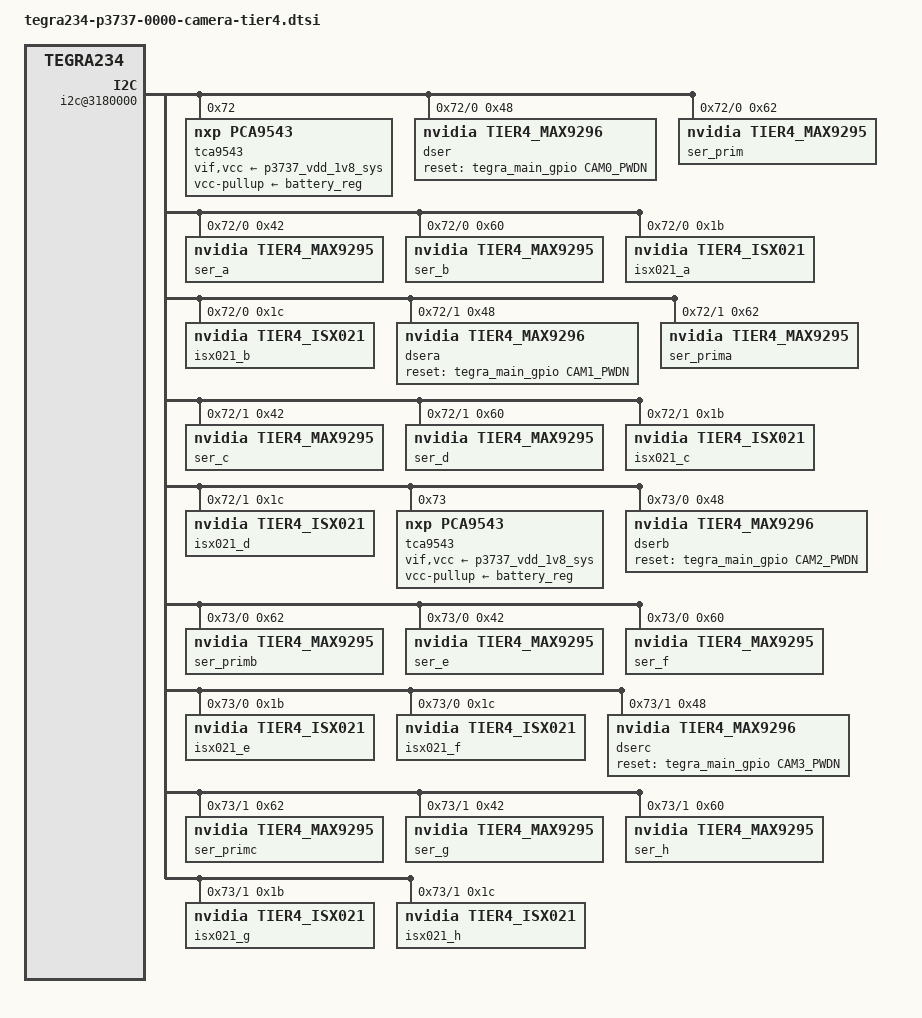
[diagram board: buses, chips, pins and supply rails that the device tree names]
/*
 * Copyright (c) 2018-2021, NVIDIA CORPORATION.  All rights reserved.
 *
 * This program is free software; you can redistribute it and/or modify it
 * under the terms and conditions of the GNU General Public License,
 * version 2, as published by the Free Software Foundation.
 *
 * This program is distributed in the hope it will be useful, but WITHOUT
 * ANY WARRANTY; without even the implied warranty of MERCHANTABILITY or
 * FITNESS FOR A PARTICULAR PURPOSE.  See the GNU General Public License for
 * more details.
 *
 * You should have received a copy of the GNU General Public License
 * along with this program.  If not, see <http://www.gnu.org/licenses/>.
 */

#include <t234-common-modules/tegra234-camera-tier4.dtsi>
#include "dt-bindings/clock/tegra234-clock.h"

/* camera control gpio definitions */
#define CAM0_PWDN	TEGRA234_MAIN_GPIO(H, 6)
#define CAM1_PWDN	TEGRA234_MAIN_GPIO(AC, 0)
#define CAM2_PWDN	TEGRA234_MAIN_GPIO(H, 3)
#define CAM3_PWDN	TEGRA234_MAIN_GPIO(AC, 1)
#define CAMERA_I2C_MUX_BUS(x) (0x1E + x)

/ {
	i2c@3180000 {
		tca9543@72 {
			compatible = "nxp,pca9543";
			reg = <0x72>;
			#address-cells = <1>;
			#size-cells = <0>;
			skip_mux_detect = "yes";
			vif-supply = <&p3737_vdd_1v8_sys>;
			vcc-supply = <&p3737_vdd_1v8_sys>;
			vcc-pullup-supply = <&battery_reg>;
			force_bus_start = <CAMERA_I2C_MUX_BUS(0)>;

			i2c@0 {
				reg = <0>;
				i2c-mux,deselect-on-exit;
				#address-cells = <1>;
				#size-cells = <0>;

				dser: max9296@48 {
					compatible = "nvidia,tier4_max9296";
					status = "okay";
					reg = <0x48>;
					csi-mode = "2x4";
					max-src = <2>;
					fsync-gpio = <6>; // fsync gpio on 9296
					reset-gpios = <&tegra_main_gpio CAM0_PWDN GPIO_ACTIVE_HIGH>;
				};
				ser_prim: max9295_prim@62 {
					compatible = "nvidia,tier4_max9295";
					status = "okay";
					reg = <0x62>;
					is-prim-ser;
				};
				ser_a: max9295_a@42 {
					compatible = "nvidia,tier4_max9295";
					status = "okay";
					reg = <0x42>;
					nvidia,gmsl-dser-device = <&dser>;
				};
				ser_b: max9295_b@60 {
					compatible = "nvidia,tier4_max9295";
					status = "okay";
					reg = <0x60>;
					nvidia,gmsl-dser-device = <&dser>;
				};

				isx021_a@1b {
					compatible = "nvidia,tier4_isx021";
					status = "okay";
					reg = <0x1b>;
					def-addr = <0x1a>;
	
					/* Define any required hw resources needed by driver */
					/* ie. clocks, io pins, power sources */
#if 1
					clocks = <&bpmp_clks TEGRA234_CLK_EXTPERIPH1>,
							<&bpmp_clks TEGRA234_CLK_EXTPERIPH1>;
#else
					clocks = <&bpmp 36U>, <&bpmp 36U>;
#endif
					clock-names = "extperiph1", "pllp_grtba";
					mclk = "extperiph1";
					nvidia,gmsl-ser-device = <&ser_a>;
					nvidia,gmsl-dser-device = <&dser>;
				};

				isx021_b@1c {
					compatible = "nvidia,tier4_isx021";
					status = "okay";
					reg = <0x1c>;
					def-addr = <0x1a>;
					
					/* Define any required hw resources needed by driver */
					/* ie. clocks, io pins, power sources */
#if 1
					clocks = <&bpmp_clks TEGRA234_CLK_EXTPERIPH1>,
							<&bpmp_clks TEGRA234_CLK_EXTPERIPH1>;
#else
					clocks = <&bpmp 36U>, <&bpmp 36U>;
#endif
					clock-names = "extperiph1", "pllp_grtba";
					mclk = "extperiph1";
					nvidia,gmsl-ser-device = <&ser_b>;
					nvidia,gmsl-dser-device = <&dser>;
				};

			}; // End of i2c@0

			i2c@1 {
				reg = <1>;
				i2c-mux,deselect-on-exit;
				#address-cells = <1>;
				#size-cells = <0>;

				dsera: max9296@48 {
					compatible = "nvidia,tier4_max9296";
					status = "okay";
					reg = <0x48>;
					csi-mode = "2x4";
					max-src = <2>;
					reset-gpios = <&tegra_main_gpio CAM1_PWDN GPIO_ACTIVE_HIGH>;
                                        fsync-gpio = <6>; // fsync gpio on 9296
				};
				ser_prima: max9295_prim@62 {
					compatible = "nvidia,tier4_max9295";
					status = "okay";
					reg = <0x62>;
					is-prim-ser;
				};
				ser_c: max9295_a@42 {
					compatible = "nvidia,tier4_max9295";
					status = "okay";
					reg = <0x42>;
					nvidia,gmsl-dser-device = <&dsera>;
				};
				ser_d: max9295_b@60 {
					compatible = "nvidia,tier4_max9295";
					status = "okay";
					reg = <0x60>;
					nvidia,gmsl-dser-device = <&dsera>;
				};

				isx021_c@1b{
					compatible = "nvidia,tier4_isx021";
					status = "okay";
					reg = <0x1b>;
					def-addr = <0x1a>;
#if 1						
					clocks = <&bpmp_clks TEGRA234_CLK_EXTPERIPH1>,
							<&bpmp_clks TEGRA234_CLK_EXTPERIPH1>;
#else
					clocks = <&bpmp 36U>, <&bpmp 36U>;
#endif
					clock-names = "extperiph1", "pllp_grtba";
					mclk = "extperiph1";
					nvidia,gmsl-ser-device = <&ser_c>;
					nvidia,gmsl-dser-device = <&dsera>;
				};

				isx021_d@1c {
					compatible = "nvidia,tier4_isx021";
					status = "okay";
					reg = <0x1c>;
					def-addr = <0x1a>;
#if 1	
					clocks = <&bpmp_clks TEGRA234_CLK_EXTPERIPH1>,
							<&bpmp_clks TEGRA234_CLK_EXTPERIPH1>;
#else
					clocks = <&bpmp 36U>, <&bpmp 36U>;
#endif
					clock-names = "extperiph1", "pllp_grtba";
					mclk = "extperiph1";
					nvidia,gmsl-ser-device = <&ser_d>;
					nvidia,gmsl-dser-device = <&dsera>;
				};

			}; // End of i2c@1

		}; // End of tca9543@72

		tca9543@73 {
			compatible = "nxp,pca9543";
			reg = <0x73>;
			#address-cells = <1>;
			#size-cells = <0>;
			skip_mux_detect = "yes";
			vif-supply = <&p3737_vdd_1v8_sys>;
			vcc-supply = <&p3737_vdd_1v8_sys>;
			vcc-pullup-supply = <&battery_reg>;
			force_bus_start = <CAMERA_I2C_MUX_BUS(2)>;

			i2c@0 {
				reg = <0>;
				i2c-mux,deselect-on-exit;
				address-cells = <1>;
				#size-cells = <0>;

				dserb: max9296@48 {
					compatible = "nvidia,tier4_max9296";
					status = "okay";
					reg = <0x48>;
					csi-mode = "2x4";
					max-src = <2>;
					reset-gpios = <&tegra_main_gpio CAM2_PWDN GPIO_ACTIVE_HIGH>;
                                        fsync-gpio = <6>; // fsync gpio on 9296
				};
				ser_primb: max9295_prim@62 {
					compatible = "nvidia,tier4_max9295";
					status = "okay";
					reg = <0x62>;
					is-prim-ser;
				};
				ser_e: max9295_a@42 {
					compatible = "nvidia,tier4_max9295";
					status = "okay";
					reg = <0x42>;
					nvidia,gmsl-dser-device = <&dserb>;
				};
				ser_f: max9295_b@60 {
					compatible = "nvidia,tier4_max9295";
					status = "okay";
					reg = <0x60>;
					nvidia,gmsl-dser-device = <&dserb>;
				};

				isx021_e@1b {
					compatible = "nvidia,tier4_isx021";
					status = "okay";
					reg = <0x1b>;
					def-addr = <0x1a>;
					
					/* Define any required hw resources needed by driver */
					/* ie. clocks, io pins, power sources */
#if 1
					clocks = <&bpmp_clks TEGRA234_CLK_EXTPERIPH1>,
							<&bpmp_clks TEGRA234_CLK_EXTPERIPH1>;
#else
					clocks = <&bpmp 36U>, <&bpmp 36U>;
#endif
					clock-names = "extperiph1", "pllp_grtba";
					mclk = "extperiph1";
					nvidia,gmsl-ser-device = <&ser_e>;
					nvidia,gmsl-dser-device = <&dserb>;
				};

				isx021_f@1c {
					compatible = "nvidia,tier4_isx021";
					status = "okay";
					reg = <0x1c>;
					def-addr = <0x1a>;
					
					/* Define any required hw resources needed by driver */
					/* ie. clocks, io pins, power sources */
#if 1
					clocks = <&bpmp_clks TEGRA234_CLK_EXTPERIPH1>,
							<&bpmp_clks TEGRA234_CLK_EXTPERIPH1>;
#else
					clocks = <&bpmp 36U>, <&bpmp 36U>;
#endif
					clock-names = "extperiph1", "pllp_grtba";
					mclk = "extperiph1";
					nvidia,gmsl-ser-device = <&ser_f>;
					nvidia,gmsl-dser-device = <&dserb>;
				};

			}; // End of i2c@0

			i2c@1 {
				reg = <1>;
				i2c-mux,deselect-on-exit;
				#address-cells = <1>;
				#size-cells = <0>;

				dserc: max9296@48 {
					compatible = "nvidia,tier4_max9296";
					status = "okay";
					reg = <0x48>;
					csi-mode = "2x4";
					max-src = <2>;
					reset-gpios = <&tegra_main_gpio CAM3_PWDN GPIO_ACTIVE_HIGH>;
                                        fsync-gpio = <6>; // fsync gpio on 9296
				};
				ser_primc: max9295_prim@62 {
					compatible = "nvidia,tier4_max9295";
					status = "okay";
					reg = <0x62>;
					is-prim-ser;
				};
				ser_g: max9295_a@42 {
					compatible = "nvidia,tier4_max9295";
					status = "okay";
					reg = <0x42>;
					nvidia,gmsl-dser-device = <&dserc>;
				};
				ser_h: max9295_b@60 {
					compatible = "nvidia,tier4_max9295";
					status = "okay";
					reg = <0x60>;
					nvidia,gmsl-dser-device = <&dserc>;
				};

				isx021_g@1b {
					compatible = "nvidia,tier4_isx021";
					status = "okay";
					reg = <0x1b>;
					def-addr = <0x1a>;
#if 1					
					clocks = <&bpmp_clks TEGRA234_CLK_EXTPERIPH1>,
							<&bpmp_clks TEGRA234_CLK_EXTPERIPH1>;
#else
					clocks = <&bpmp 36U>, <&bpmp 36U>;
#endif
					clock-names = "extperiph1", "pllp_grtba";
					mclk = "extperiph1";
					nvidia,gmsl-ser-device = <&ser_g>;
					nvidia,gmsl-dser-device = <&dserc>;
				};

				isx021_h@1c {
					compatible = "nvidia,tier4_isx021";
					status = "okay";
					reg = <0x1c>;
					def-addr = <0x1a>;
#if 1					
					clocks = <&bpmp_clks TEGRA234_CLK_EXTPERIPH1>,
							<&bpmp_clks TEGRA234_CLK_EXTPERIPH1>;
#else
					clocks = <&bpmp 36U>, <&bpmp 36U>;
#endif
					clock-names = "extperiph1", "pllp_grtba";
					mclk = "extperiph1";
					nvidia,gmsl-ser-device = <&ser_h>;
					nvidia,gmsl-dser-device = <&dserc>;
				};

			}; // End of i2c@1
		}; // End of tca9543@73
	}; // End of i2c@3180000
};
